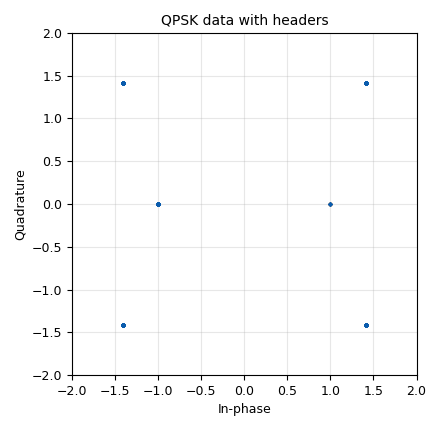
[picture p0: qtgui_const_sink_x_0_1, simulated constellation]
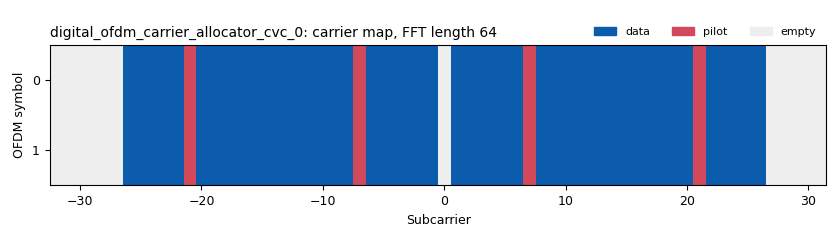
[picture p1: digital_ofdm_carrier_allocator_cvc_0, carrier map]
options:
  parameters:
    author: omero
    generate_options: qt_gui
    id: main_Tx
    output_language: python
    title: Not titled yet
  states: {}

blocks:
- name: fft_len
  id: variable
  parameters:
    value: '64'
  states: {}
- name: header_equalizer
  id: variable
  parameters:
    value: digital.ofdm_equalizer_simpledfe(fft_len, header_mod.base(), occupied_carriers, pilot_carriers, pilot_symbols)
  states: {}
- name: header_formatter
  id: variable
  parameters:
    value: digital.packet_header_ofdm(occupied_carriers, n_syms=1, len_tag_key=packet_length_tag_key, frame_len_tag_key=length_tag_key, bits_per_header_sym=header_mod.bits_per_symbol(), bits_per_payload_sym=payload_mod.bits_per_symbol(), scramble_header=False)
  states: {}
- name: header_mod
  id: variable
  parameters:
    value: digital.constellation_bpsk()
  states: {}
- name: length_tag_key
  id: variable
  parameters:
    value: '"frame_len"'
  states: {}
- name: occupied_carriers
  id: variable
  parameters:
    value: (list(range(-26, -21)) + list(range(-20, -7)) + list(range(-6, 0)) + list(range(1, 7)) + list(range(8, 21)) + list(range(22, 27)),)
  states: {}
- name: packet_len
  id: variable
  parameters:
    value: '60'
  states: {}
- name: packet_length_tag_key
  id: variable
  parameters:
    value: '"packet_len"'
  states: {}
- name: payload_equalizer
  id: variable
  parameters:
    value: digital.ofdm_equalizer_simpledfe(fft_len, payload_mod.base(), occupied_carriers, pilot_carriers, pilot_symbols, 1)
  states: {}
- name: payload_mod
  id: variable
  parameters:
    value: digital.constellation_qpsk()
  states: {}
- name: pilot_carriers
  id: variable
  parameters:
    value: ((-21, -7, 7, 21,),)
  states: {}
- name: pilot_symbols
  id: variable
  parameters:
    value: ((1, 1, 1, -1,),)
  states: {}
- name: rolloff
  id: variable
  parameters:
    value: '0'
  states: {}
- name: samp_rate
  id: variable
  parameters:
    value: '180000'
  states: {}
- name: sync_word1
  id: variable
  parameters:
    value: '[0., 0., 0., 0., 0., 0., 0., 1.41421356, 0., -1.41421356, 0., 1.41421356, 0., -1.41421356, 0., -1.41421356, 0., -1.41421356, 0., 1.41421356, 0., -1.41421356, 0., 1.41421356, 0., -1.41421356, 0., -1.41421356, 0., -1.41421356, 0., -1.41421356, 0., 1.41421356, 0., -1.41421356, 0., 1.41421356, 0., 1.41421356, 0., 1.41421356, 0., -1.41421356, 0., 1.41421356, 0., 1.41421356, 0., 1.41421356, 0., -1.41421356, 0., 1.41421356, 0., 1.41421356, 0., 1.41421356, 0., 0., 0., 0., 0., 0.]'
  states: {}
- name: sync_word2
  id: variable
  parameters:
    value: '[0j, 0j, 0j, 0j, 0j, 0j, (-1+0j), (-1+0j), (-1+0j), (-1+0j), (1+0j), (1+0j), (-1+0j), (-1+0j), (-1+0j), (1+0j), (-1+0j), (1+0j), (1+0j), (1 +0j), (1+0j), (1+0j), (-1+0j), (-1+0j), (-1+0j), (-1+0j), (-1+0j), (1+0j), (-1+0j), (-1+0j), (1+0j), (-1+0j), 0j, (1+0j), (-1+0j), (1+0j), (1+0j), (1+0j), (-1+0j), (1+0j), (1+0j), (1+0j), (-1+0j), (1+0j), (1+0j), (1+0j), (1+0j), (-1+0j), (1+0j), (-1+0j), (-1+0j), (-1+0j), (1+0j), (-1+0j), (1+0j), (-1+0j), (-1+0j), (-1+0j), (-1+0j), 0j, 0j, 0j, 0j, 0j]'
  states: {}
- name: alamouti_encoder_0
  id: alamouti_encoder
  parameters:
    samp_rate: '0'
  states: {}
- name: analog_random_source_x_0
  id: analog_random_source_x
  parameters:
    max: '256'
    min: '0'
    num_samps: '128000'
    repeat: 'True'
    type: byte
  states: {}
- name: blocks_multiply_const_vxx_0
  id: blocks_multiply_const_vxx
  parameters:
    const: '0.05'
    type: complex
  states: {}
- name: blocks_multiply_const_vxx_0_0
  id: blocks_multiply_const_vxx
  parameters:
    const: '0.05'
    type: complex
  states: {}
- name: blocks_repack_bits_bb_0_0
  id: blocks_repack_bits_bb
  parameters:
    endianness: gr.GR_LSB_FIRST
    k: '8'
    l: payload_mod.bits_per_symbol()
    len_tag_key: packet_length_tag_key
  states: {}
- name: blocks_stream_to_tagged_stream_0
  id: blocks_stream_to_tagged_stream
  parameters:
    len_tag_key: packet_length_tag_key
    packet_len: packet_len
    type: byte
  states: {}
- name: blocks_tag_gate_0
  id: blocks_tag_gate
  parameters:
    propagate_tags: 'False'
    type: complex
  states: {}
- name: blocks_tag_gate_0_0
  id: blocks_tag_gate
  parameters:
    propagate_tags: 'False'
    type: complex
  states: {}
- name: blocks_tagged_stream_mux_0
  id: blocks_tagged_stream_mux
  parameters:
    lengthtagname: packet_length_tag_key
    ninputs: '2'
    type: complex
  states: {}
- name: blocks_throttle_0_0
  id: blocks_throttle
  parameters:
    samples_per_second: samp_rate
    type: complex
  states: {}
- name: blocks_throttle_0_0_0
  id: blocks_throttle
  parameters:
    samples_per_second: samp_rate
    type: complex
  states: {}
- name: digital_chunks_to_symbols_xx_0
  id: digital_chunks_to_symbols_xx
  parameters:
    dimension: '1'
    in_type: byte
    out_type: complex
    symbol_table: header_mod.points()
  states: {}
- name: digital_chunks_to_symbols_xx_0_0
  id: digital_chunks_to_symbols_xx
  parameters:
    dimension: '1'
    in_type: byte
    out_type: complex
    symbol_table: payload_mod.points()
  states: {}
- name: digital_crc32_bb_0_0
  id: digital_crc32_bb
  parameters:
    check: 'False'
    lengthtagname: packet_length_tag_key
    packed: 'True'
  states: {}
- name: digital_ofdm_carrier_allocator_cvc_0
  id: digital_ofdm_carrier_allocator_cvc
  parameters:
    fft_len: fft_len
    len_tag_key: packet_length_tag_key
    occupied_carriers: occupied_carriers
    output_is_shifted: 'True'
    pilot_carriers: pilot_carriers
    pilot_symbols: pilot_symbols
    sync_words: (sync_word1, sync_word2)
  states: {}
- name: digital_ofdm_carrier_allocator_cvc_0_0
  id: digital_ofdm_carrier_allocator_cvc
  parameters:
    fft_len: fft_len
    len_tag_key: packet_length_tag_key
    occupied_carriers: occupied_carriers
    output_is_shifted: 'True'
    pilot_carriers: pilot_carriers
    pilot_symbols: pilot_symbols
    sync_words: (sync_word1, sync_word2)
  states: {}
- name: digital_ofdm_cyclic_prefixer_0
  id: digital_ofdm_cyclic_prefixer
  parameters:
    cp_len: fft_len//4
    input_size: fft_len
    rolloff: rolloff
    tagname: packet_length_tag_key
  states: {}
- name: digital_ofdm_cyclic_prefixer_0_0
  id: digital_ofdm_cyclic_prefixer
  parameters:
    cp_len: fft_len//4
    input_size: fft_len
    rolloff: rolloff
    tagname: packet_length_tag_key
  states: {}
- name: digital_packet_headergenerator_bb_0
  id: digital_packet_headergenerator_bb
  parameters:
    header_formatter: header_formatter.base()
    len_tag_key: packet_length_tag_key
  states: {}
- name: fft_vxx_0_0
  id: fft_vxx
  parameters:
    fft_size: fft_len
    forward: 'False'
    shift: 'True'
    type: complex
    window: ()
  states: {}
- name: fft_vxx_0_0_0
  id: fft_vxx
  parameters:
    fft_size: fft_len
    forward: 'False'
    shift: 'True'
    type: complex
    window: ()
  states: {}
- name: header_bits
  id: virtual_sink
  parameters:
    stream_id: Header Bits
  states: {}
- name: import_1
  id: import
  parameters:
    imports: from gnuradio.digital.utils import tagged_streams
  states: {}
- name: qtgui_const_sink_x_0
  id: qtgui_const_sink_x
  parameters:
    grid: 'True'
    gui_hint: 2,1
    name: Transmitted Data Antenna 1
    size: '1024'
    type: complex
  states: {}
- name: qtgui_const_sink_x_0_0
  id: qtgui_const_sink_x
  parameters:
    grid: 'True'
    gui_hint: 1,2
    name: Transmitted Data Antenna 2
    size: '1024'
    type: complex
  states: {}
- name: qtgui_const_sink_x_0_1
  id: qtgui_const_sink_x
  parameters:
    grid: 'True'
    gui_hint: 1,1
    name: QPSK data with headers
    size: '1024'
    type: complex
  states: {}
- name: qtgui_freq_sink_x_0
  id: qtgui_freq_sink_x
  parameters:
    bw: samp_rate *100
    fc: 2.4e9
    fftsize: '1024'
    grid: 'True'
    name: 'Frequency Spectrum of Transmitted Signal First Antenna '
    showports: 'True'
    type: complex
    ymin: '-100'
  states: {}
- name: qtgui_freq_sink_x_0_0
  id: qtgui_freq_sink_x
  parameters:
    bw: samp_rate *100
    fc: 2.4e9
    fftsize: '1024'
    grid: 'True'
    name: 'Frequency Spectrum of Transmitted Signal Second Antenna '
    showports: 'True'
    type: complex
  states: {}
- name: uhd_usrp_sink_0_0
  id: uhd_usrp_sink
  parameters:
    ant0: '"TX/RX"'
    bw0: 15e6
    center_freq0: 2.4e9
    dev_addr: '"serial=31FD9BD"'
    gain0: '100'
    samp_rate: samp_rate
    sync: pc_clock
    type: fc32
  states: {}
- name: uhd_usrp_sink_0_0_0
  id: uhd_usrp_sink
  parameters:
    ant0: '"TX/RX"'
    bw0: 15e6
    center_freq0: 2.4e9
    dev_addr: '"serial=31FD9CA"'
    gain0: '100'
    samp_rate: samp_rate
    sync: pc_clock
    type: fc32
  states: {}
- name: virtual_sink_0_0
  id: virtual_sink
  parameters:
    stream_id: Payload Bits
  states: {}
- name: virtual_sink_0_0_0
  id: virtual_sink
  parameters:
    stream_id: Pre-OFDM
  states: {}
- name: virtual_sink_0_1
  id: virtual_sink
  parameters:
    stream_id: Time Domain1
  states: {}
- name: virtual_sink_0_1_0
  id: virtual_sink
  parameters:
    stream_id: Time Domain2
  states: {}
- name: virtual_sink_1_1
  id: virtual_sink
  parameters:
    stream_id: Tx Signal1
  states: {}
- name: virtual_sink_1_1_0
  id: virtual_sink
  parameters:
    stream_id: Tx Signal2
  states: {}
- name: virtual_source_0_0_0
  id: virtual_source
  parameters:
    stream_id: Payload Bits
  states: {}
- name: virtual_source_0_0_0_0
  id: virtual_source
  parameters:
    stream_id: Pre-OFDM
  states: {}
- name: virtual_source_0_0_0_0_0
  id: virtual_source
  parameters:
    stream_id: Time Domain1
  states: {}
- name: virtual_source_0_0_0_0_0_0
  id: virtual_source
  parameters:
    stream_id: Time Domain2
  states: {}
- name: virtual_source_0_1
  id: virtual_source
  parameters:
    stream_id: Header Bits
  states: {}

connections:
- [alamouti_encoder_0, '0', digital_ofdm_carrier_allocator_cvc_0, '0']
- [alamouti_encoder_0, '1', digital_ofdm_carrier_allocator_cvc_0_0, '0']
- [analog_random_source_x_0, '0', blocks_stream_to_tagged_stream_0, '0']
- [blocks_multiply_const_vxx_0, '0', blocks_tag_gate_0, '0']
- [blocks_multiply_const_vxx_0_0, '0', blocks_tag_gate_0_0, '0']
- [blocks_repack_bits_bb_0_0, '0', virtual_sink_0_0, '0']
- [blocks_stream_to_tagged_stream_0, '0', digital_crc32_bb_0_0, '0']
- [blocks_tag_gate_0, '0', blocks_throttle_0_0, '0']
- [blocks_tag_gate_0_0, '0', blocks_throttle_0_0_0, '0']
- [blocks_tagged_stream_mux_0, '0', qtgui_const_sink_x_0_1, '0']
- [blocks_tagged_stream_mux_0, '0', virtual_sink_0_0_0, '0']
- [blocks_throttle_0_0, '0', qtgui_const_sink_x_0, '0']
- [blocks_throttle_0_0, '0', qtgui_freq_sink_x_0, '0']
- [blocks_throttle_0_0, '0', uhd_usrp_sink_0_0, '0']
- [blocks_throttle_0_0, '0', virtual_sink_1_1, '0']
- [blocks_throttle_0_0_0, '0', qtgui_const_sink_x_0_0, '0']
- [blocks_throttle_0_0_0, '0', qtgui_freq_sink_x_0_0, '0']
- [blocks_throttle_0_0_0, '0', uhd_usrp_sink_0_0_0, '0']
- [blocks_throttle_0_0_0, '0', virtual_sink_1_1_0, '0']
- [digital_chunks_to_symbols_xx_0, '0', blocks_tagged_stream_mux_0, '0']
- [digital_chunks_to_symbols_xx_0_0, '0', blocks_tagged_stream_mux_0, '1']
- [digital_crc32_bb_0_0, '0', blocks_repack_bits_bb_0_0, '0']
- [digital_crc32_bb_0_0, '0', digital_packet_headergenerator_bb_0, '0']
- [digital_ofdm_carrier_allocator_cvc_0, '0', fft_vxx_0_0, '0']
- [digital_ofdm_carrier_allocator_cvc_0_0, '0', fft_vxx_0_0_0, '0']
- [digital_ofdm_cyclic_prefixer_0, '0', virtual_sink_0_1, '0']
- [digital_ofdm_cyclic_prefixer_0_0, '0', virtual_sink_0_1_0, '0']
- [digital_packet_headergenerator_bb_0, '0', header_bits, '0']
- [fft_vxx_0_0, '0', digital_ofdm_cyclic_prefixer_0, '0']
- [fft_vxx_0_0_0, '0', digital_ofdm_cyclic_prefixer_0_0, '0']
- [virtual_source_0_0_0, '0', digital_chunks_to_symbols_xx_0_0, '0']
- [virtual_source_0_0_0_0, '0', alamouti_encoder_0, '0']
- [virtual_source_0_0_0_0_0, '0', blocks_multiply_const_vxx_0, '0']
- [virtual_source_0_0_0_0_0_0, '0', blocks_multiply_const_vxx_0_0, '0']
- [virtual_source_0_1, '0', digital_chunks_to_symbols_xx_0, '0']

metadata:
  file_format: 1
